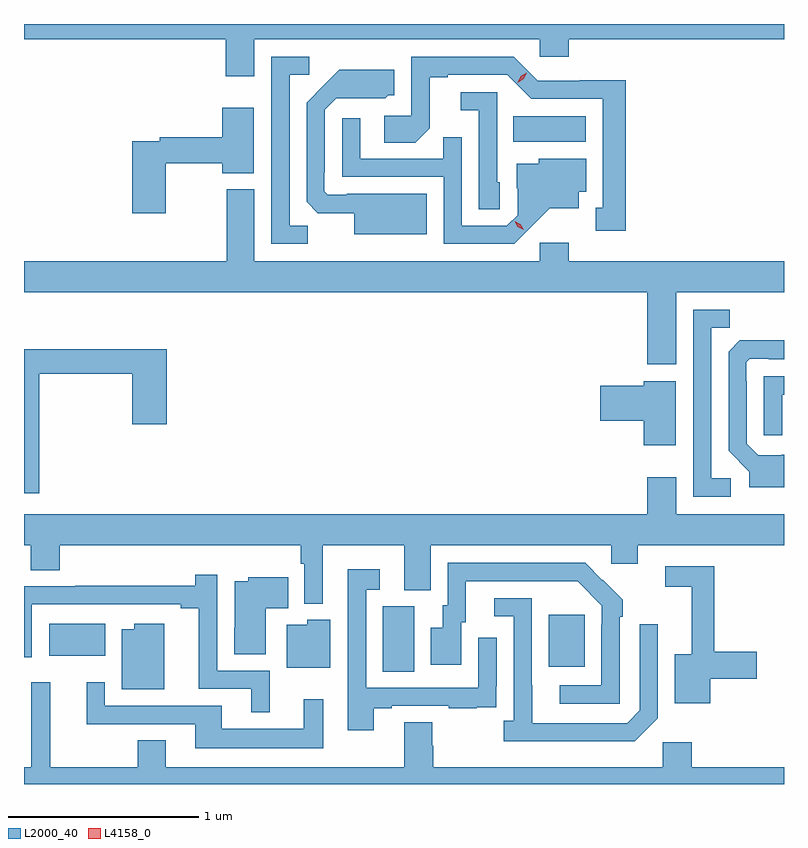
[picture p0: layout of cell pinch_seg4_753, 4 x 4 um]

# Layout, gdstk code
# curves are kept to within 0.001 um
import gdstk
lib = gdstk.Library(unit=1e-6, precision=1e-09)
def R(c, l, rs):  # rectangles x0, y0, x1, y1
    for r in rs: c.add(gdstk.rectangle(r[:2], r[2:], *l))
def P(c, l, *ps):  # polygons
    for p in ps: c.add(gdstk.Polygon(p, *l))
L2000_40 = (2000, 40)
L4158_0 = (4158, 0)

pinch_seg4_753 = lib.new_cell('pinch_seg4_753')
R(pinch_seg4_753, L2000_40, [(768.716,816.136,768.88,816.48), (769.589,816.161,769.777,816.436), (766.961,816.218,767.254,816.388), (769.402,818.924,769.783,819.058)])
P(pinch_seg4_753, L2000_40, [(769.542,819.371),(769.694,819.371),(769.694,819.464),(770.827,819.464),(770.827,819.544),(766.827,819.544),(766.827,819.464),(767.888,819.464),(767.888,819.27),(768.04,819.27),(768.04,819.464),(769.542,819.464)],
  [(768.321,818.483),(768.225,818.483),(768.225,819.276),(768.328,819.276),(768.328,819.372),(768.129,819.372),(768.129,818.388),(768.321,818.388)],
  [(769.993,819.248),(769.752,819.248),(769.752,819.246),(769.53,819.246),(769.404,819.372),(768.864,819.372),(768.864,819.06),(768.723,819.06),(768.723,818.92),(768.887,818.92),(768.963,818.996),(768.963,819.264),(769.057,819.264),(769.057,819.276),(769.371,819.276),(769.497,819.15),(769.874,819.15),(769.874,818.577),(769.835,818.577),(769.835,818.457),(769.993,818.457)],
  [(768.946,818.65),(768.526,818.65),(768.526,818.646),(768.426,818.646),(768.408,818.664),(768.408,818.764),(768.411,818.764),(768.411,819.093),(768.471,819.153),(768.728,819.152),(768.744,819.168),(768.775,819.168),(768.775,819.304),(768.487,819.304),(768.315,819.13),(768.315,818.608),(768.374,818.549),(768.566,818.549),(768.566,818.438),(768.946,818.438)],
  [(769.332,818.712),(769.317,818.712),(769.317,819.186),(769.125,819.186),(769.125,819.089),(769.221,819.089),(769.221,818.569),(769.332,818.569)],
  [(767.574,818.812),(767.87,818.812),(767.87,818.759),(768.037,818.759),(768.037,819.103),(767.87,819.103),(767.87,818.948),(767.542,818.948),(767.542,818.928),(767.396,818.928),(767.396,818.547),(767.574,818.547)],
  [(769.492,818.471),(769.595,818.573),(769.747,818.573),(769.747,818.66),(769.786,818.66),(769.786,818.836),(769.536,818.836),(769.536,818.809),(769.421,818.809),(769.421,818.68),(769.425,818.68),(769.425,818.538),(769.368,818.481),(769.131,818.481),(769.131,818.948),(769.033,818.948),(769.033,818.835),(768.597,818.835),(768.597,819.049),(768.501,819.049),(768.501,818.739),(769.035,818.739),(769.035,818.388),(769.408,818.388)],
  [(770.26,818.132),(770.827,818.132),(770.827,818.296),(769.694,818.296),(769.694,818.392),(769.542,818.392),(769.542,818.296),(768.04,818.296),(768.04,818.674),(767.893,818.674),(767.893,818.296),(766.827,818.296),(766.827,818.132),(770.108,818.132),(770.108,817.752),(770.26,817.752)],
  [(770.548,817.152),(770.445,817.152),(770.445,817.945),(770.541,817.945),(770.541,818.04),(770.349,818.04),(770.349,817.056),(770.548,817.056)],
  [(770.827,817.276),(770.691,817.275),(770.631,817.335),(770.631,817.664),(770.628,817.664),(770.628,817.764),(770.646,817.782),(770.746,817.782),(770.746,817.779),(770.827,817.779),(770.827,817.88),(770.594,817.879),(770.535,817.82),(770.535,817.298),(770.645,817.188),(770.645,817.106),(770.827,817.106)],
  [(766.907,817.702),(767.396,817.702),(767.396,817.437),(767.579,817.437),(767.579,817.831),(766.827,817.831),(766.827,817.074),(766.907,817.074)],
  [(770.817,817.593),(770.827,817.593),(770.827,817.689),(770.721,817.689),(770.721,817.38),(770.817,817.38)],
  [(770.257,817.663),(770.09,817.663),(770.09,817.64),(769.86,817.64),(769.86,817.457),(770.09,817.457),(770.09,817.326),(770.257,817.326)],
  [(768.4,816.8),(768.827,816.8),(768.827,816.565),(768.967,816.565),(768.967,816.8),(769.917,816.8),(769.917,816.702),(770.056,816.702),(770.056,816.8),(770.827,816.8),(770.827,816.964),(770.26,816.964),(770.26,817.159),(770.108,817.159),(770.108,816.964),(766.827,816.964),(766.827,816.8),(766.862,816.8),(766.862,816.67),(767.015,816.67),(767.015,816.8),(768.283,816.8),(768.283,816.704),(768.303,816.704),(768.303,816.494),(768.4,816.494)],
  [(769.962,816.425),(769.977,816.425),(769.977,816.513),(769.78,816.708),(769.056,816.708),(769.056,816.486),(769.031,816.486),(769.031,816.367),(768.968,816.367),(768.968,816.171),(769.129,816.171),(769.129,816.396),(769.153,816.396),(769.153,816.612),(769.741,816.612),(769.869,816.483),(769.869,816.383),(769.866,816.383),(769.866,816.063),(769.647,816.063),(769.647,815.967),(769.962,815.967)],
  [(770.44,816.097),(770.683,816.097),(770.683,816.239),(770.459,816.239),(770.459,816.69),(770.202,816.69),(770.202,816.582),(770.342,816.582),(770.342,816.226),(770.252,816.226),(770.252,815.969),(770.44,815.969)],
  [(768.667,815.943),(768.763,815.943),(768.763,815.955),(769.063,815.955),(769.063,815.943),(769.211,815.943),(769.211,815.949),(769.313,815.949),(769.313,816.058),(769.314,816.058),(769.314,816.313),(769.218,816.313),(769.218,816.051),(768.627,816.051),(768.627,816.567),(768.7,816.567),(768.7,816.673),(768.531,816.673),(768.531,815.826),(768.667,815.826)],
  [(768.121,816.141),(767.844,816.141),(767.844,816.646),(767.728,816.646),(767.728,816.587),(767.098,816.587),(767.098,816.585),(766.827,816.585),(766.827,816.21),(766.869,816.21),(766.869,816.489),(767.651,816.489),(767.651,816.469),(767.747,816.469),(767.747,816.045),(768.023,816.045),(768.023,815.921),(768.121,815.921)],
  [(768.1,816.47),(768.218,816.47),(768.218,816.631),(768.006,816.631),(768.006,816.61),(767.936,816.61),(767.936,816.366),(767.933,816.366),(767.933,816.226),(768.1,816.226)],
  [(770.163,815.889),(770.163,816.385),(770.067,816.385),(770.067,815.931),(770.001,815.865),(769.501,815.865),(769.5,816.522),(769.302,816.522),(769.302,816.426),(769.404,816.426),(769.404,815.878),(769.353,815.878),(769.353,815.768),(770.042,815.768)],
  [(768.439,816.409),(768.318,816.409),(768.318,816.382),(768.209,816.382),(768.209,816.155),(768.439,816.155)],
  [(767.566,816.388),(767.408,816.388),(767.408,816.358),(767.342,816.358),(767.342,816.044),(767.566,816.044)],
  [(768.403,815.989),(768.299,815.989),(768.299,815.836),(767.869,815.836),(767.869,815.955),(767.253,815.955),(767.253,816.079),(767.156,816.079),(767.156,815.859),(767.729,815.859),(767.729,815.732),(768.403,815.732)],
  [(770.827,815.632),(770.342,815.632),(770.342,815.764),(770.19,815.764),(770.19,815.632),(768.98,815.632),(768.98,815.745),(768.975,815.745),(768.975,815.87),(768.827,815.87),(768.827,815.632),(767.572,815.632),(767.572,815.774),(767.425,815.774),(767.425,815.632),(766.964,815.632),(766.964,816.079),(766.865,816.079),(766.865,815.632),(766.827,815.632),(766.827,815.544),(770.827,815.544)])
P(pinch_seg4_753, L4158_0, [(769.425,819.236),(769.425,819.236),(769.442,819.268),(769.474,819.287),(769.474,819.287),(769.474,819.287),(769.457,819.255),(769.425,819.236)],
  [(769.457,818.46),(769.426,818.476),(769.41,818.506),(769.41,818.506),(769.41,818.506),(769.44,818.491),(769.457,818.461),(769.457,818.46)])

lib.write_gds('pinch_seg4_753.gds')
